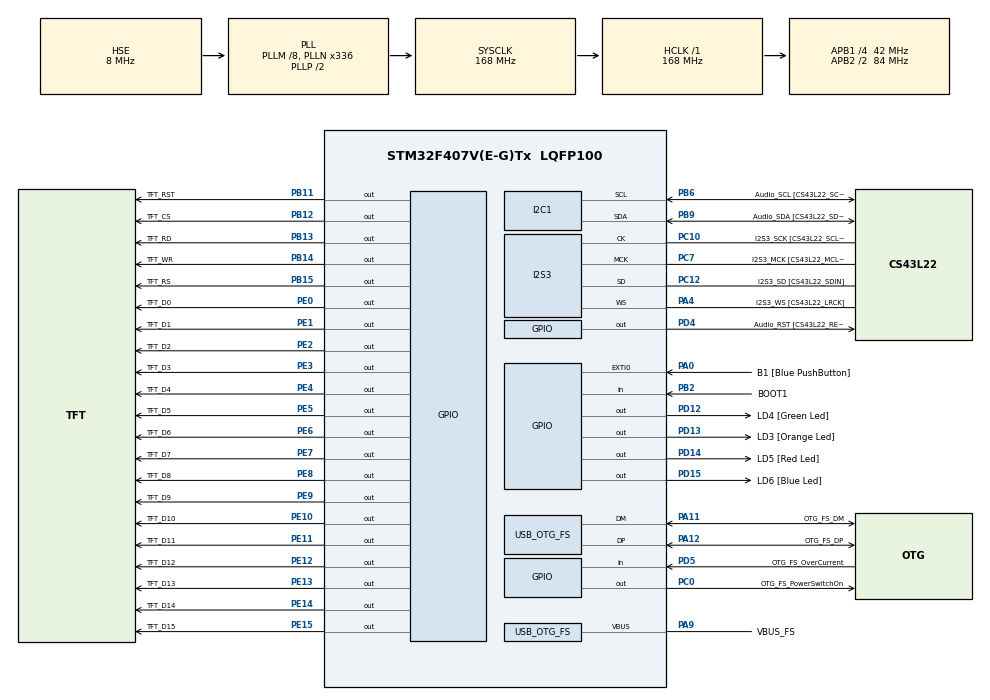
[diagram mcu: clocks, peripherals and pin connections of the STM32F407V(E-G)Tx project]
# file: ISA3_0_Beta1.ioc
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FATFS._MAX_SS=4096
I2S3.AudioFreq-Half_Duplex_Master=I2S_AUDIOFREQ_96K
I2S3.ErrorAudioFreq=-2.34 %
I2S3.ErrorAudioFreq-Half_Duplex_Master=0.8 %
I2S3.FullDuplexMode=I2S_FULLDUPLEXMODE_DISABLE
I2S3.Instance=SPI$Index
I2S3.RealAudioFreq=93.75 KHz
I2S3.RealAudioFreq-Half_Duplex_Master=96.774 KHz
I2S3.VirtualMode=I2S_MODE_MASTER
LIBJPEG.RGB_ORDERING=BGR
Mcu.Family=STM32F4
Mcu.Name=STM32F407V(E-G)Tx
Mcu.Package=LQFP100
NVIC.OTG_FS_IRQn=true\:0\:0\:false\:false\:true\:true\:true
NVIC.PriorityGroup=NVIC_PRIORITYGROUP_0
PA0-WKUP.GPIO_Label=B1 [Blue PushButton]
PA0-WKUP.GPIO_ModeDefaultEXTI=GPIO_MODE_EVT_RISING
PA0-WKUP.GPIO_PuPd=GPIO_NOPULL
PA0-WKUP.Signal=GPXTI0
PA10.GPIO_Label=OTG_FS_ID
PA10.GPIO_Mode=GPIO_MODE_AF_PP
PA10.GPIO_PuPd=GPIO_NOPULL
PA10.GPIO_Speed=GPIO_SPEED_FREQ_LOW
PA10.Signal=USB_OTG_FS_ID
PA11.GPIO_Label=OTG_FS_DM
PA11.GPIO_Mode=GPIO_MODE_AF_PP
PA11.GPIO_PuPd=GPIO_NOPULL
PA11.GPIO_Speed=GPIO_SPEED_FREQ_LOW
PA11.Mode=Host_Only
PA11.Signal=USB_OTG_FS_DM
PA12.GPIO_Label=OTG_FS_DP
PA12.GPIO_Mode=GPIO_MODE_AF_PP
PA12.GPIO_PuPd=GPIO_NOPULL
PA12.GPIO_Speed=GPIO_SPEED_FREQ_LOW
PA12.Mode=Host_Only
PA12.Signal=USB_OTG_FS_DP
PA13.GPIO_Label=SWDIO
PA13.Mode=Serial_Wire
PA13.Signal=SYS_JTMS-SWDIO
PA14.GPIO_Label=SWCLK
PA14.Mode=Serial_Wire
PA14.Signal=SYS_JTCK-SWCLK
PA4.GPIO_Label=I2S3_WS [CS43L22_LRCK]
PA4.GPIO_Mode=GPIO_MODE_AF_PP
PA4.GPIO_PuPd=GPIO_NOPULL
PA4.GPIO_Speed=GPIO_SPEED_FREQ_LOW
PA4.Mode=Half_Duplex_Master
PA4.Signal=I2S3_WS
PA5.GPIO_Label=SPI1_SCK [LIS302DL_SCL/SPC]
PA5.GPIO_Mode=GPIO_MODE_AF_PP
PA5.GPIO_PuPd=GPIO_NOPULL
PA5.GPIO_Speed=GPIO_SPEED_FREQ_LOW
PA5.Signal=SPI1_SCK
PA6.GPIO_Label=SPI1_MISO [LIS302DL_SDO]
PA6.GPIO_Mode=GPIO_MODE_AF_PP
PA6.GPIO_PuPd=GPIO_NOPULL
PA6.GPIO_Speed=GPIO_SPEED_FREQ_LOW
PA6.Signal=SPI1_MISO
PA7.GPIO_Label=SPI1_MOSI [LIS302DL_SDA/SDI/SDO]
PA7.GPIO_Mode=GPIO_MODE_AF_PP
PA7.GPIO_PuPd=GPIO_NOPULL
PA7.GPIO_Speed=GPIO_SPEED_FREQ_LOW
PA7.Signal=SPI1_MOSI
PA9.GPIO_Label=VBUS_FS
PA9.GPIO_Mode=GPIO_MODE_INPUT
PA9.GPIO_PuPd=GPIO_NOPULL
PA9.Mode=Activate_VBUS
PA9.Signal=USB_OTG_FS_VBUS
PB10.GPIO_Label=CLK_IN [MP45DT02_CLK]
PB10.GPIO_Mode=GPIO_MODE_AF_PP
PB10.GPIO_PuPd=GPIO_NOPULL
PB10.GPIO_Speed=GPIO_SPEED_FREQ_LOW
PB10.Signal=I2S2_CK
PB11.GPIO_Label=TFT_RST
PB11.Signal=GPIO_Output
PB12.GPIO_Label=TFT_CS
PB12.Signal=GPIO_Output
PB13.GPIO_Label=TFT_RD
PB13.Signal=GPIO_Output
PB14.GPIO_Label=TFT_WR
PB14.Signal=GPIO_Output
PB15.GPIO_Label=TFT_RS
PB15.Signal=GPIO_Output
PB2.GPIO_Label=BOOT1
PB2.GPIO_Mode=GPIO_MODE_INPUT
PB2.GPIO_PuPd=GPIO_NOPULL
PB2.Signal=GPIO_Input
PB3.GPIO_Label=SWO
PB3.Signal=SYS_JTDO-SWO
PB6.GPIO_Label=Audio_SCL [CS43L22_SCL]
PB6.GPIO_Mode=GPIO_MODE_AF_OD
PB6.GPIO_PuPd=GPIO_NOPULL
PB6.GPIO_Speed=GPIO_SPEED_FREQ_LOW
PB6.Mode=I2C
PB6.Signal=I2C1_SCL
PB9.GPIO_Label=Audio_SDA [CS43L22_SDA]
PB9.GPIO_Mode=GPIO_MODE_AF_OD
PB9.GPIO_PuPd=GPIO_NOPULL
PB9.GPIO_Speed=GPIO_SPEED_FREQ_LOW
PB9.Mode=I2C
PB9.Signal=I2C1_SDA
PC0.GPIO_Label=OTG_FS_PowerSwitchOn
PC0.GPIO_PuPd=GPIO_NOPULL
PC0.GPIO_Speed=GPIO_SPEED_FREQ_LOW
PC0.PinState=GPIO_PIN_SET
PC0.Signal=GPIO_Output
PC10.GPIO_Label=I2S3_SCK [CS43L22_SCLK]
PC10.GPIO_Mode=GPIO_MODE_AF_PP
PC10.GPIO_PuPd=GPIO_NOPULL
PC10.GPIO_Speed=GPIO_SPEED_FREQ_LOW
PC10.Mode=Half_Duplex_Master
PC10.Signal=I2S3_CK
PC12.GPIO_Label=I2S3_SD [CS43L22_SDIN]
PC12.GPIO_Mode=GPIO_MODE_AF_PP
PC12.GPIO_PuPd=GPIO_NOPULL
PC12.GPIO_Speed=GPIO_SPEED_FREQ_LOW
PC12.Mode=Half_Duplex_Master
PC12.Signal=I2S3_SD
PC14-OSC32_IN.GPIO_Label=PC14-OSC32_IN
PC14-OSC32_IN.Mode=LSE-External-Oscillator
PC14-OSC32_IN.Signal=RCC_OSC32_IN
PC15-OSC32_OUT.GPIO_Label=PC15-OSC32_OUT
PC15-OSC32_OUT.Mode=LSE-External-Oscillator
PC15-OSC32_OUT.Signal=RCC_OSC32_OUT
PC3.GPIO_Label=PDM_OUT [MP45DT02_DOUT]
PC3.GPIO_Mode=GPIO_MODE_AF_PP
PC3.GPIO_PuPd=GPIO_NOPULL
PC3.GPIO_Speed=GPIO_SPEED_FREQ_LOW
PC3.Signal=I2S2_SD
PC7.GPIO_Label=I2S3_MCK [CS43L22_MCLK]
PC7.GPIO_Mode=GPIO_MODE_AF_PP
PC7.GPIO_PuPd=GPIO_NOPULL
PC7.GPIO_Speed=GPIO_SPEED_FREQ_LOW
PC7.Mode=Master_Clock_Activated
PC7.Signal=I2S3_MCK
PD12.GPIO_Label=LD4 [Green Led]
PD12.GPIO_PuPd=GPIO_NOPULL
PD12.GPIO_Speed=GPIO_SPEED_FREQ_LOW
PD12.Signal=GPIO_Output
PD13.GPIO_Label=LD3 [Orange Led]
PD13.GPIO_PuPd=GPIO_NOPULL
PD13.GPIO_Speed=GPIO_SPEED_FREQ_LOW
PD13.Signal=GPIO_Output
PD14.GPIO_Label=LD5 [Red Led]
PD14.GPIO_PuPd=GPIO_NOPULL
PD14.GPIO_Speed=GPIO_SPEED_FREQ_LOW
PD14.Signal=GPIO_Output
PD15.GPIO_Label=LD6 [Blue Led]
PD15.GPIO_PuPd=GPIO_NOPULL
PD15.GPIO_Speed=GPIO_SPEED_FREQ_LOW
PD15.Signal=GPIO_Output
PD4.GPIO_Label=Audio_RST [CS43L22_RESET]
PD4.GPIO_PuPd=GPIO_NOPULL
PD4.GPIO_Speed=GPIO_SPEED_FREQ_LOW
PD4.Signal=GPIO_Output
PD5.GPIO_Label=OTG_FS_OverCurrent
PD5.GPIO_Mode=GPIO_MODE_INPUT
PD5.GPIO_PuPd=GPIO_NOPULL
PD5.Signal=GPIO_Input
PE0.GPIO_Label=TFT_D0
PE0.GPIO_Speed=GPIO_SPEED_FREQ_VERY_HIGH
PE0.Signal=GPIO_Output
PE1.GPIO_Label=TFT_D1
PE1.GPIO_Speed=GPIO_SPEED_FREQ_VERY_HIGH
PE1.Signal=GPIO_Output
PE10.GPIO_Label=TFT_D10
PE10.GPIO_Speed=GPIO_SPEED_FREQ_VERY_HIGH
PE10.Signal=GPIO_Output
PE11.GPIO_Label=TFT_D11
PE11.GPIO_Speed=GPIO_SPEED_FREQ_VERY_HIGH
PE11.Signal=GPIO_Output
PE12.GPIO_Label=TFT_D12
PE12.GPIO_Speed=GPIO_SPEED_FREQ_VERY_HIGH
PE12.Signal=GPIO_Output
PE13.GPIO_Label=TFT_D13
PE13.GPIO_Speed=GPIO_SPEED_FREQ_VERY_HIGH
PE13.Signal=GPIO_Output
PE14.GPIO_Label=TFT_D14
PE14.GPIO_Speed=GPIO_SPEED_FREQ_VERY_HIGH
PE14.Signal=GPIO_Output
PE15.GPIO_Label=TFT_D15
PE15.GPIO_Speed=GPIO_SPEED_FREQ_VERY_HIGH
PE15.Signal=GPIO_Output
PE2.GPIO_Label=TFT_D2
PE2.GPIO_Speed=GPIO_SPEED_FREQ_VERY_HIGH
PE2.Signal=GPIO_Output
PE3.GPIO_Label=TFT_D3
PE3.GPIO_Speed=GPIO_SPEED_FREQ_VERY_HIGH
PE3.Signal=GPIO_Output
PE4.GPIO_Label=TFT_D4
PE4.GPIO_Speed=GPIO_SPEED_FREQ_VERY_HIGH
PE4.Signal=GPIO_Output
PE5.GPIO_Label=TFT_D5
PE5.GPIO_Speed=GPIO_SPEED_FREQ_VERY_HIGH
PE5.Signal=GPIO_Output
PE6.GPIO_Label=TFT_D6
PE6.GPIO_Speed=GPIO_SPEED_FREQ_VERY_HIGH
PE6.Signal=GPIO_Output
PE7.GPIO_Label=TFT_D7
PE7.GPIO_Speed=GPIO_SPEED_FREQ_VERY_HIGH
PE7.Signal=GPIO_Output
PE8.GPIO_Label=TFT_D8
PE8.GPIO_Speed=GPIO_SPEED_FREQ_VERY_HIGH
PE8.Signal=GPIO_Output
PE9.GPIO_Label=TFT_D9
PE9.GPIO_Speed=GPIO_SPEED_FREQ_VERY_HIGH
PE9.Signal=GPIO_Output
PH0-OSC_IN.GPIO_Label=PH0-OSC_IN
PH0-OSC_IN.Mode=HSE-External-Oscillator
PH0-OSC_IN.Signal=RCC_OSC_IN
PH1-OSC_OUT.GPIO_Label=PH1-OSC_OUT
PH1-OSC_OUT.Mode=HSE-External-Oscillator
PH1-OSC_OUT.Signal=RCC_OSC_OUT
ProjectManager.HeapSize=0x200
ProjectManager.StackSize=0x400
ProjectManager.TargetToolchain=MDK-ARM V5
RCC.48MHZClocksFreq_Value=48000000
RCC.AHBFreq_Value=168000000
RCC.APB1CLKDivider=RCC_HCLK_DIV4
RCC.APB1Freq_Value=42000000
RCC.APB1TimFreq_Value=84000000
RCC.APB2CLKDivider=RCC_HCLK_DIV2
RCC.APB2Freq_Value=84000000
RCC.APB2TimFreq_Value=168000000
RCC.CortexFreq_Value=168000000
RCC.HCLKFreq_Value=168000000
RCC.HSE_VALUE=8000000
RCC.HSI_VALUE=16000000
RCC.PLLM=8
RCC.PLLN=336
RCC.PLLQ=7
RCC.SYSCLKFreq_VALUE=168000000
RCC.SYSCLKSource=RCC_SYSCLKSOURCE_PLLCLK
RCC.VCOOutputFreq_Value=336000000
USB_HOST.BSP.number=1
USB_HOST.USBH_HandleTypeDef-MSC_FS=hUsbHostFS
USB_HOST.VirtualModeFS=Msc
USB_HOST0.BSP.STBoard=false
USB_HOST0.BSP.api=Unknown
USB_HOST0.BSP.i2caddr=0
USB_HOST0.BSP.i2creg=0
USB_HOST0.BSP.instance=PC0
USB_HOST0.BSP.ip=GPIO
USB_HOST0.BSP.mode=Output
USB_HOST0.BSP.name=Drive_VBUS_FS
USB_HOST0.BSP.solution=PC0
USB_OTG_FS.VirtualMode=Host_Only
USB_OTG_FS.phy_itface=HCD_PHY_EMBEDDED
VP_FATFS_VS_USB.Mode=USB
VP_LIBJPEG_VS_JPEGLIB.Mode=Enabled
VP_USB_HOST_VS_USB_HOST_MSC_FS.Mode=MSC_FS
board=STM32F407G-DISC1

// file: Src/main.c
/* USER CODE BEGIN Header */
/**
  ******************************************************************************
  * @file           : main.c
  * @brief          : Main program body
  ******************************************************************************
  * @attention
  *
  * <h2><center>&copy; Copyright (c) 2020 STMicroelectronics.
  * All rights reserved.</center></h2>
  *
  * This software component is licensed by ST under Ultimate Liberty license
  * SLA0044, the "License"; You may not use this file except in compliance with
  * the License. You may obtain a copy of the License at:
  *                             www.st.com/SLA0044
  *
  ******************************************************************************
  */
/* USER CODE END Header */

#include "main.h"
#include "fatfs.h"
#include "libjpeg.h"
#include "usb_host.h"

/* USER CODE BEGIN Includes */
#include "TFT_STM32_16.h"
/* USER CODE END Includes */

I2C_HandleTypeDef hi2c1;

I2S_HandleTypeDef hi2s3;

/* USER CODE BEGIN PV */
extern ApplicationTypeDef Appli_state;
/* USER CODE END PV */

void SystemClock_Config(void);
static void MX_GPIO_Init(void);
static void MX_I2C1_Init(void);
static void MX_I2S3_Init(void);
void MX_USB_HOST_Process(void);

/* USER CODE BEGIN PFP */
void TFT_printf(void);
/* USER CODE END PFP */

int main(void)
{

  /* MCU Configuration--------------------------------------------------------*/

  /* Reset of all peripherals, Initializes the Flash interface and the Systick. */
  HAL_Init();

  /* Configure the system clock */
  SystemClock_Config();

  /* Initialize all configured peripherals */
  MX_GPIO_Init();
  MX_I2C1_Init();
  MX_I2S3_Init();
  MX_FATFS_Init();
  MX_LIBJPEG_Init();
  MX_USB_HOST_Init();
  /* USER CODE BEGIN 2 */
  TFT_Init();
  /* USER CODE END 2 */

  /* Infinite loop */
  /* USER CODE BEGIN WHILE */
  tftIcon_t my = {100, 100, 0, 0};
  for(uint8_t tftCnt = 0; tftCnt < 2; tftCnt++, my.ycor += my.high){
	  TFT_putchar(99,&my,1);
  }
    while(1){
    	HAL_GPIO_TogglePin(GPIOD,GPIO_PIN_13);
    	HAL_Delay(1000);
    }
  TFT_printf();
//  tftIcon_t my2 = {50, 50, 0, 0};
//  for(uint8_t tftCnt = 0; tftCnt < 3; tftCnt++, my2.ycor += my2.high){
//	  TFT_putchar(99+tftCnt,&my2,1);
//  }
  tftIcon_t my3 = {170, 170, 0, 0};
  for(uint8_t tftCnt = 0; tftCnt < 3; tftCnt++, my3.ycor += my3.high){
	  TFT_putchar(99+tftCnt,&my3,1);
  }
  while (1)
  {
    /* USER CODE END WHILE */
    MX_USB_HOST_Process();
    switch(Appli_state){
    case APPLICATION_IDLE:
    	break;
    case APPLICATION_START:
    	f_mount(&USBHFatFS,USBHPath,0);
    	HAL_GPIO_WritePin(GPIOD,GPIO_PIN_12,GPIO_PIN_SET);
    	break;
    case APPLICATION_READY:
    	//TFT_Img("prueba.bmp");
//    	TFT_printf("cde",200,200);
    	TFT_IconJpeg("p.jpg",&my,1);
    	//audioPlay("prueba3.wav");
    	while(1);
    	break;
    case APPLICATION_DISCONNECT:
    	HAL_GPIO_WritePin(GPIOD,GPIO_PIN_12,GPIO_PIN_RESET);
    	break;
    }
  }
}

void SystemClock_Config(void)
{
  RCC_OscInitTypeDef RCC_OscInitStruct = {0};
  RCC_ClkInitTypeDef RCC_ClkInitStruct = {0};
  RCC_PeriphCLKInitTypeDef PeriphClkInitStruct = {0};

  /** Configure the main internal regulator output voltage
  */
  __HAL_RCC_PWR_CLK_ENABLE();
  __HAL_PWR_VOLTAGESCALING_CONFIG(PWR_REGULATOR_VOLTAGE_SCALE1);
  /** Initializes the CPU, AHB and APB busses clocks
  */
  RCC_OscInitStruct.OscillatorType = RCC_OSCILLATORTYPE_HSE;
  RCC_OscInitStruct.HSEState = RCC_HSE_ON;
  RCC_OscInitStruct.PLL.PLLState = RCC_PLL_ON;
  RCC_OscInitStruct.PLL.PLLSource = RCC_PLLSOURCE_HSE;
  RCC_OscInitStruct.PLL.PLLM = 8;
  RCC_OscInitStruct.PLL.PLLN = 336;
  RCC_OscInitStruct.PLL.PLLP = RCC_PLLP_DIV2;
  RCC_OscInitStruct.PLL.PLLQ = 7;
  if (HAL_RCC_OscConfig(&RCC_OscInitStruct) != HAL_OK)
  {
    Error_Handler();
  }
  /** Initializes the CPU, AHB and APB busses clocks
  */
  RCC_ClkInitStruct.ClockType = RCC_CLOCKTYPE_HCLK|RCC_CLOCKTYPE_SYSCLK
                              |RCC_CLOCKTYPE_PCLK1|RCC_CLOCKTYPE_PCLK2;
  RCC_ClkInitStruct.SYSCLKSource = RCC_SYSCLKSOURCE_PLLCLK;
  RCC_ClkInitStruct.AHBCLKDivider = RCC_SYSCLK_DIV1;
  RCC_ClkInitStruct.APB1CLKDivider = RCC_HCLK_DIV4;
  RCC_ClkInitStruct.APB2CLKDivider = RCC_HCLK_DIV2;

  if (HAL_RCC_ClockConfig(&RCC_ClkInitStruct, FLASH_LATENCY_5) != HAL_OK)
  {
    Error_Handler();
  }
  PeriphClkInitStruct.PeriphClockSelection = RCC_PERIPHCLK_I2S;
  PeriphClkInitStruct.PLLI2S.PLLI2SN = 192;
  PeriphClkInitStruct.PLLI2S.PLLI2SR = 2;
  if (HAL_RCCEx_PeriphCLKConfig(&PeriphClkInitStruct) != HAL_OK)
  {
    Error_Handler();
  }
}

static void MX_I2C1_Init(void)
{

  hi2c1.Instance = I2C1;
  hi2c1.Init.ClockSpeed = 100000;
  hi2c1.Init.DutyCycle = I2C_DUTYCYCLE_2;
  hi2c1.Init.OwnAddress1 = 0;
  hi2c1.Init.AddressingMode = I2C_ADDRESSINGMODE_7BIT;
  hi2c1.Init.DualAddressMode = I2C_DUALADDRESS_DISABLE;
  hi2c1.Init.OwnAddress2 = 0;
  hi2c1.Init.GeneralCallMode = I2C_GENERALCALL_DISABLE;
  hi2c1.Init.NoStretchMode = I2C_NOSTRETCH_DISABLE;
  if (HAL_I2C_Init(&hi2c1) != HAL_OK)
  {
    Error_Handler();
  }

}

static void MX_I2S3_Init(void)
{

  hi2s3.Instance = SPI3;
  hi2s3.Init.Mode = I2S_MODE_MASTER_TX;
  hi2s3.Init.Standard = I2S_STANDARD_PHILIPS;
  hi2s3.Init.DataFormat = I2S_DATAFORMAT_16B;
  hi2s3.Init.MCLKOutput = I2S_MCLKOUTPUT_ENABLE;
  hi2s3.Init.AudioFreq = I2S_AUDIOFREQ_96K;
  hi2s3.Init.CPOL = I2S_CPOL_LOW;
  hi2s3.Init.ClockSource = I2S_CLOCK_PLL;
  hi2s3.Init.FullDuplexMode = I2S_FULLDUPLEXMODE_DISABLE;
  if (HAL_I2S_Init(&hi2s3) != HAL_OK)
  {
    Error_Handler();
  }

}

static void MX_GPIO_Init(void)
{
  GPIO_InitTypeDef GPIO_InitStruct = {0};

  /* GPIO Ports Clock Enable */
  __HAL_RCC_GPIOE_CLK_ENABLE();
  __HAL_RCC_GPIOC_CLK_ENABLE();
  __HAL_RCC_GPIOH_CLK_ENABLE();
  __HAL_RCC_GPIOA_CLK_ENABLE();
  __HAL_RCC_GPIOB_CLK_ENABLE();
  __HAL_RCC_GPIOD_CLK_ENABLE();

  /*Configure GPIO pin Output Level */
  HAL_GPIO_WritePin(GPIOE, TFT_D2_Pin|TFT_D3_Pin|TFT_D4_Pin|TFT_D5_Pin
                          |TFT_D6_Pin|TFT_D7_Pin|TFT_D8_Pin|TFT_D9_Pin
                          |TFT_D10_Pin|TFT_D11_Pin|TFT_D12_Pin|TFT_D13_Pin
                          |TFT_D14_Pin|TFT_D15_Pin|TFT_D0_Pin|TFT_D1_Pin, GPIO_PIN_RESET);

  /*Configure GPIO pin Output Level */
  HAL_GPIO_WritePin(OTG_FS_PowerSwitchOn_GPIO_Port, OTG_FS_PowerSwitchOn_Pin, GPIO_PIN_SET);

  /*Configure GPIO pin Output Level */
  HAL_GPIO_WritePin(GPIOB, TFT_RST_Pin|TFT_CS_Pin|TFT_RD_Pin|TFT_WR_Pin
                          |TFT_RS_Pin, GPIO_PIN_RESET);

  /*Configure GPIO pin Output Level */
  HAL_GPIO_WritePin(GPIOD, LD4_Pin|LD3_Pin|LD5_Pin|LD6_Pin
                          |Audio_RST_Pin, GPIO_PIN_RESET);

  /*Configure GPIO pins : TFT_D2_Pin TFT_D3_Pin TFT_D4_Pin TFT_D5_Pin
                           TFT_D6_Pin TFT_D7_Pin TFT_D8_Pin TFT_D9_Pin
                           TFT_D10_Pin TFT_D11_Pin TFT_D12_Pin TFT_D13_Pin
                           TFT_D14_Pin TFT_D15_Pin TFT_D0_Pin TFT_D1_Pin */
  GPIO_InitStruct.Pin = TFT_D2_Pin|TFT_D3_Pin|TFT_D4_Pin|TFT_D5_Pin
                          |TFT_D6_Pin|TFT_D7_Pin|TFT_D8_Pin|TFT_D9_Pin
                          |TFT_D10_Pin|TFT_D11_Pin|TFT_D12_Pin|TFT_D13_Pin
                          |TFT_D14_Pin|TFT_D15_Pin|TFT_D0_Pin|TFT_D1_Pin;
  GPIO_InitStruct.Mode = GPIO_MODE_OUTPUT_PP;
  GPIO_InitStruct.Pull = GPIO_NOPULL;
  GPIO_InitStruct.Speed = GPIO_SPEED_FREQ_VERY_HIGH;
  HAL_GPIO_Init(GPIOE, &GPIO_InitStruct);

  /*Configure GPIO pin : OTG_FS_PowerSwitchOn_Pin */
  GPIO_InitStruct.Pin = OTG_FS_PowerSwitchOn_Pin;
  GPIO_InitStruct.Mode = GPIO_MODE_OUTPUT_PP;
  GPIO_InitStruct.Pull = GPIO_NOPULL;
  GPIO_InitStruct.Speed = GPIO_SPEED_FREQ_LOW;
  HAL_GPIO_Init(OTG_FS_PowerSwitchOn_GPIO_Port, &GPIO_InitStruct);

  /*Configure GPIO pin : PDM_OUT_Pin */
  GPIO_InitStruct.Pin = PDM_OUT_Pin;
  GPIO_InitStruct.Mode = GPIO_MODE_AF_PP;
  GPIO_InitStruct.Pull = GPIO_NOPULL;
  GPIO_InitStruct.Speed = GPIO_SPEED_FREQ_LOW;
  GPIO_InitStruct.Alternate = GPIO_AF5_SPI2;
  HAL_GPIO_Init(PDM_OUT_GPIO_Port, &GPIO_InitStruct);

  /*Configure GPIO pin : B1_Pin */
  GPIO_InitStruct.Pin = B1_Pin;
  GPIO_InitStruct.Mode = GPIO_MODE_EVT_RISING;
  GPIO_InitStruct.Pull = GPIO_NOPULL;
  HAL_GPIO_Init(B1_GPIO_Port, &GPIO_InitStruct);

  /*Configure GPIO pins : SPI1_SCK_Pin SPI1_MISO_Pin SPI1_MOSI_Pin */
  GPIO_InitStruct.Pin = SPI1_SCK_Pin|SPI1_MISO_Pin|SPI1_MOSI_Pin;
  GPIO_InitStruct.Mode = GPIO_MODE_AF_PP;
  GPIO_InitStruct.Pull = GPIO_NOPULL;
  GPIO_InitStruct.Speed = GPIO_SPEED_FREQ_LOW;
  GPIO_InitStruct.Alternate = GPIO_AF5_SPI1;
  HAL_GPIO_Init(GPIOA, &GPIO_InitStruct);

  /*Configure GPIO pin : BOOT1_Pin */
  GPIO_InitStruct.Pin = BOOT1_Pin;
  GPIO_InitStruct.Mode = GPIO_MODE_INPUT;
  GPIO_InitStruct.Pull = GPIO_NOPULL;
  HAL_GPIO_Init(BOOT1_GPIO_Port, &GPIO_InitStruct);

  /*Configure GPIO pin : CLK_IN_Pin */
  GPIO_InitStruct.Pin = CLK_IN_Pin;
  GPIO_InitStruct.Mode = GPIO_MODE_AF_PP;
  GPIO_InitStruct.Pull = GPIO_NOPULL;
  GPIO_InitStruct.Speed = GPIO_SPEED_FREQ_LOW;
  GPIO_InitStruct.Alternate = GPIO_AF5_SPI2;
  HAL_GPIO_Init(CLK_IN_GPIO_Port, &GPIO_InitStruct);

  /*Configure GPIO pins : TFT_RST_Pin TFT_CS_Pin TFT_RD_Pin TFT_WR_Pin
                           TFT_RS_Pin */
  GPIO_InitStruct.Pin = TFT_RST_Pin|TFT_CS_Pin|TFT_RD_Pin|TFT_WR_Pin
                          |TFT_RS_Pin;
  GPIO_InitStruct.Mode = GPIO_MODE_OUTPUT_PP;
  GPIO_InitStruct.Pull = GPIO_NOPULL;
  GPIO_InitStruct.Speed = GPIO_SPEED_FREQ_LOW;
  HAL_GPIO_Init(GPIOB, &GPIO_InitStruct);

  /*Configure GPIO pins : LD4_Pin LD3_Pin LD5_Pin LD6_Pin
                           Audio_RST_Pin */
  GPIO_InitStruct.Pin = LD4_Pin|LD3_Pin|LD5_Pin|LD6_Pin
                          |Audio_RST_Pin;
  GPIO_InitStruct.Mode = GPIO_MODE_OUTPUT_PP;
  GPIO_InitStruct.Pull = GPIO_NOPULL;
  GPIO_InitStruct.Speed = GPIO_SPEED_FREQ_LOW;
  HAL_GPIO_Init(GPIOD, &GPIO_InitStruct);

  /*Configure GPIO pin : OTG_FS_OverCurrent_Pin */
  GPIO_InitStruct.Pin = OTG_FS_OverCurrent_Pin;
  GPIO_InitStruct.Mode = GPIO_MODE_INPUT;
  GPIO_InitStruct.Pull = GPIO_NOPULL;
  HAL_GPIO_Init(OTG_FS_OverCurrent_GPIO_Port, &GPIO_InitStruct);

}

/* USER CODE BEGIN 4 */
void TFT_printf(){
	tftIcon_t iconp = {200, 200, 0, 0};
	TFT_putchar(99,&iconp,1);
//	for(uint8_t tftCnt = 0;tftCnt < 3;tftCnt ++, icon.ycor += icon.high){
//		TFT_putchar(99,&icon,1);
//	}
//	char * s1 = tftText;
//	do{
//		tftIcon_t icon = {xpos, ypos};
//		TFT_putchar(*s1,&icon,1);
//		ypos += icon.high;
//	}while(++s1);
}
/* USER CODE END 4 */

void Error_Handler(void)
{
}

/************************ (C) COPYRIGHT STMicroelectronics *****END OF FILE****/
